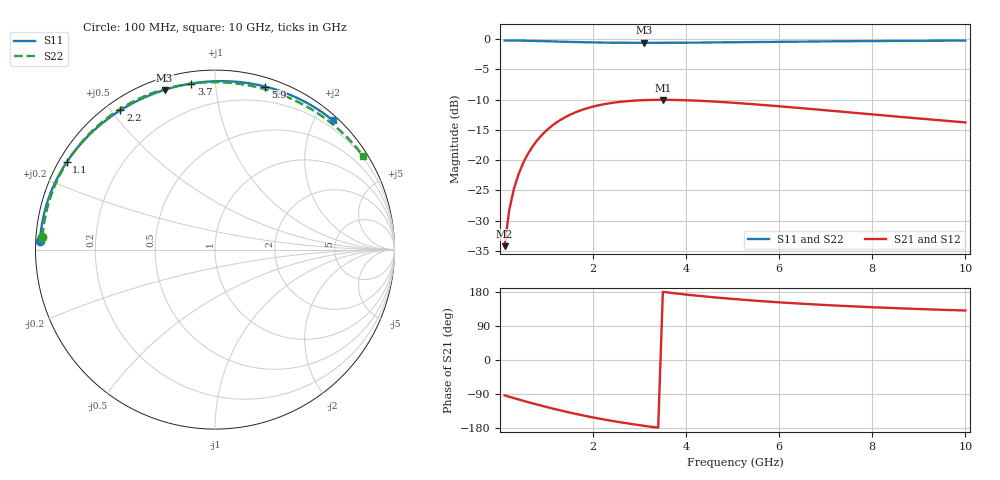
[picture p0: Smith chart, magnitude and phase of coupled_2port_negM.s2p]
! Synthetic 2-port coupled coils, ground-referenced, NEGATIVE M
! Two magnetically coupled coils, Z_loop = [[R1+jwL1, jwM], [jwM, R2+jwL2]]
! R1 = 0.6 Ohm
! R2 = 0.9 Ohm
! L1 = 2e-09 H
! L2 = 3e-09 H
! M  = -8e-10 H
! k  = M / sqrt(L1*L2) = -0.3265986323710904
! C_shunt_each_terminal = 0.0 F
! Wiring: port1 = coil1 '+' (coil1 '-' grounded), port2 = coil2 '+' (coil2 '-' grounded); coil 2 is wound backwards
! Values above are exact by construction; see tests/generate_test_snp.py.
! Port[1] = coil1
! Port[2] = coil2
# HZ S RI R 50
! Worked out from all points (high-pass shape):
!   100 points, 100 MHz to 10 GHz, reference 50 ohm
!   highest |S21| = -10.02 dB at 3.5 GHz (marker M1); lowest = -34.2 dB at 100 MHz (marker M2)
!   |S21| within 3 dB of the highest: 1.372 GHz to 8.883 GHz (7.511 GHz wide, 146 % of centre)
!   lowest |S11| = -0.6 dB at 3.1 GHz (marker M3), VSWR 28.91, Z = 2.66 + j36.6 ohm
!   |S11| at or under -10 dB: nowhere
!   |S22| runs from -0.6 to -0.2 dB; largest |S21 - S12| = 1.4e-16
!   S11 on the Smith chart (normalised r, x): 100 MHz: 0.01, +0.03; 1.1 GHz: 0.02, +0.27; 2.2 GHz: 0.04, +0.53; 3.7 GHz: 0.06, +0.87; 5.9 GHz: 0.07, +1.35; 10 GHz: 0.08, +2.26
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1e8  -0.9749 0.049  -0.0012 -0.0195  -0.0012 -0.0195  -0.9618 0.0726
2e8  -0.9707 0.0978  -0.00479 -0.0386  -0.00479 -0.0386  -0.9532 0.1446
3e8  -0.9637 0.146  -0.0107 -0.057  -0.0107 -0.057  -0.9391 0.2151
4e8  -0.9541 0.1934  -0.0187 -0.0744  -0.0187 -0.0744  -0.9197 0.2836
5e8  -0.942 0.2397  -0.0286 -0.0906  -0.0286 -0.0906  -0.8954 0.3496
7e8  -0.911 0.3285  -0.0534 -0.1183  -0.0534 -0.1183  -0.8342 0.4718
9e8  -0.872 0.411  -0.0828 -0.1388  -0.0828 -0.1388  -0.7593 0.579
1.1e9  -0.8268 0.4865  -0.1147 -0.1517  -0.1147 -0.1517  -0.6752 0.67
1.4e9  -0.7506 0.586  -0.1628 -0.1576  -0.1628 -0.1576  -0.5404 0.7761
1.8e9  -0.6402 0.6939  -0.22 -0.1449  -0.22 -0.1449  -0.3604 0.8678
2.2e9  -0.5266 0.7764  -0.2638 -0.1167  -0.2638 -0.1167  -0.1937 0.9152
2.6e9  -0.4145 0.8376  -0.2931 -0.081  -0.2931 -0.081  -0.0463 0.9322
3.1e9  -0.2806 0.8899  -0.3117 -0.0342  -0.3117 -0.0342  0.1097 0.9267
3.4e9  -0.2047 0.9108  -0.3153 -0.00753  -0.3153 -0.00753  0.1895 0.9146
3.5e9  -0.1802 0.9162  -0.3155 0.00094  -0.3155 0.00094  0.2141 0.9096
3.7e9  -0.1325 0.9251  -0.3145 0.0171  -0.3145 0.0171  0.2603 0.8986
4.4e9  0.0206 0.9385  -0.3013 0.0654  -0.3013 0.0654  0.3964 0.8527
5.1e9  0.1527 0.9317  -0.2792 0.1006  -0.2792 0.1006  0.5006 0.8026
5.9e9  0.2799 0.9084  -0.2504 0.1276  -0.2504 0.1276  0.5916 0.7463
6.7e9  0.3849 0.8757  -0.2221 0.144  -0.2221 0.144  0.6612 0.6937
8.4e9  0.5508 0.7949  -0.1703 0.1572  -0.1703 0.1572  0.7626 0.5972
1e10  0.6567 0.7199  -0.1336 0.1559  -0.1336 0.1559  0.8228 0.5242
